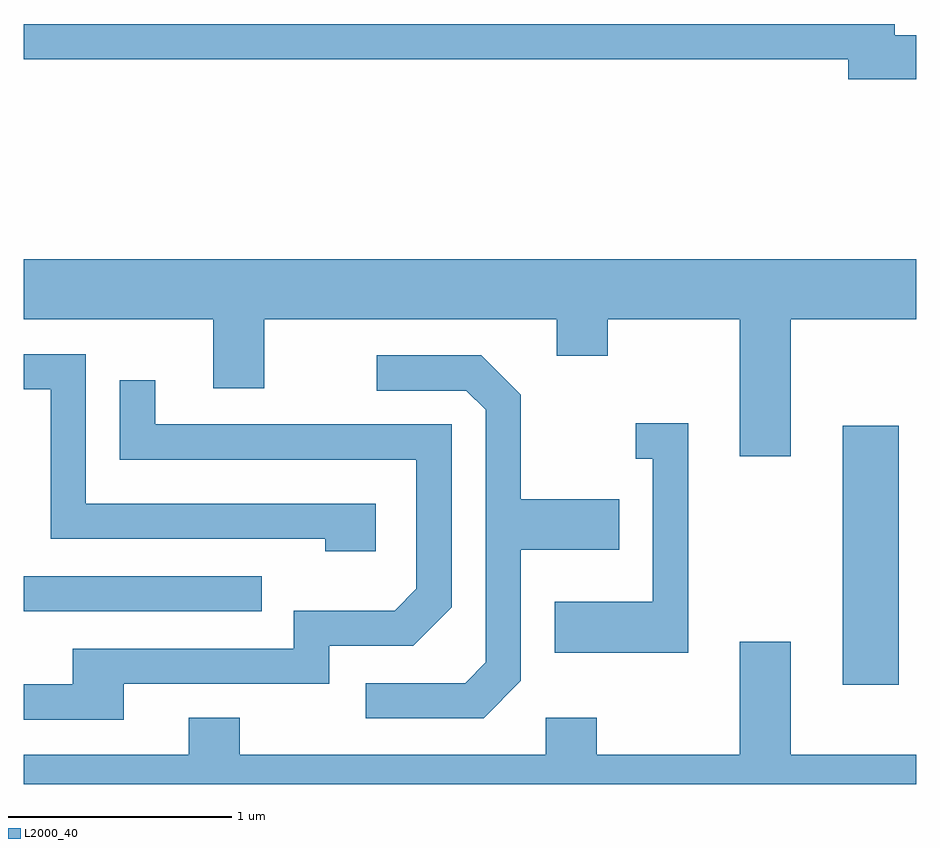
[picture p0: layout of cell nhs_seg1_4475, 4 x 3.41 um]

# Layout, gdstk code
import gdstk
lib = gdstk.Library(unit=1e-6, precision=1e-09)
def R(c, l, rs):  # rectangles x0, y0, x1, y1
    for r in rs: c.add(gdstk.rectangle(r[:2], r[2:], *l))
def P(c, l, *ps):  # polygons
    for p in ps: c.add(gdstk.Polygon(p, *l))
L2000_40 = (2000, 40)

nhs_seg1_4475 = lib.new_cell('nhs_seg1_4475')
R(nhs_seg1_4475, L2000_40, [(323.281,900.156,323.534,901.319), (319.611,900.486,320.678,900.644)])
P(nhs_seg1_4475, L2000_40, [(323.611,903.069),(323.514,903.069),(323.514,903.119),(319.611,903.119),(319.611,902.961),(323.306,902.961),(323.306,902.871),(323.611,902.871)],
  [(323.049,901.796),(323.611,901.796),(323.611,902.064),(319.611,902.064),(319.611,901.796),(320.461,901.796),(320.461,901.486),(320.689,901.486),(320.689,901.796),(322.001,901.796),(322.001,901.631),(322.229,901.631),(322.229,901.796),(322.821,901.796),(322.821,901.181),(323.049,901.181)],
  [(321.189,900.969),(319.889,900.969),(319.889,901.639),(319.611,901.639),(319.611,901.481),(319.731,901.481),(319.731,900.811),(320.961,900.811),(320.961,900.756),(321.189,900.756)],
  [(321.839,900.174),(321.839,900.761),(322.279,900.761),(322.279,900.989),(321.839,900.989),(321.839,901.457),(321.662,901.634),(321.193,901.634),(321.193,901.476),(321.594,901.476),(321.681,901.389),(321.681,900.257),(321.589,900.164),(321.143,900.164),(321.143,900.006),(321.672,900.006)],
  [(320.059,900.161),(320.979,900.161),(320.979,900.331),(321.357,900.331),(321.529,900.504),(321.529,901.324),(320.199,901.324),(320.199,901.523),(320.041,901.523),(320.041,901.166),(321.371,901.166),(321.371,900.587),(321.274,900.489),(320.821,900.489),(320.821,900.319),(319.831,900.319),(319.831,900.159),(319.611,900.159),(319.611,900.001),(320.059,900.001)],
  [(322.589,901.329),(322.353,901.329),(322.353,901.171),(322.431,901.171),(322.431,900.529),(321.991,900.529),(321.991,900.301),(322.589,900.301)],
  [(323.611,899.844),(323.049,899.844),(323.049,900.349),(322.821,900.349),(322.821,899.844),(322.179,899.844),(322.179,900.009),(321.951,900.009),(321.951,899.844),(320.579,899.844),(320.579,900.009),(320.351,900.009),(320.351,899.844),(319.611,899.844),(319.611,899.712),(323.611,899.712)])

lib.write_gds('nhs_seg1_4475.gds')
